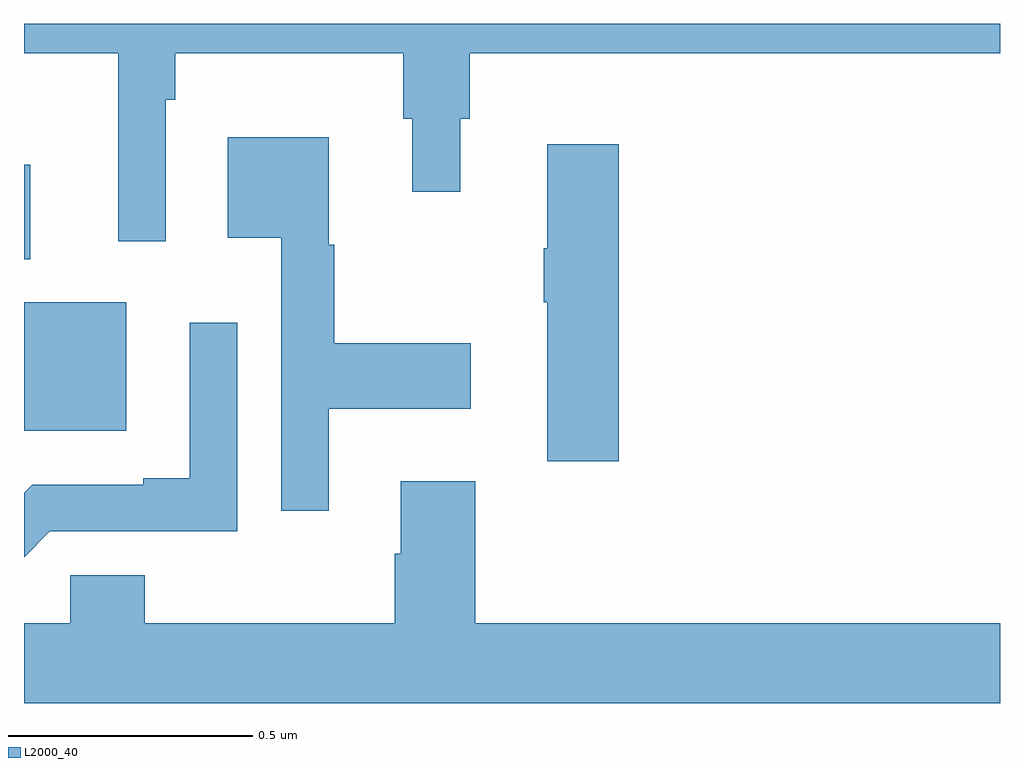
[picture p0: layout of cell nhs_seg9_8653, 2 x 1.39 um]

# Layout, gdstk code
import gdstk
lib = gdstk.Library(unit=1e-6, precision=1e-09)
def R(c, l, rs):  # rectangles x0, y0, x1, y1
    for r in rs: c.add(gdstk.rectangle(r[:2], r[2:], *l))
def P(c, l, *ps):  # polygons
    for p in ps: c.add(gdstk.Polygon(p, *l))
L2000_40 = (2000, 40)

nhs_seg9_8653 = lib.new_cell('nhs_seg9_8653')
R(nhs_seg9_8653, L2000_40, [(220,1175.666,220.21,1175.929), (220,1176.018,220.013,1176.211)])
P(nhs_seg9_8653, L2000_40, [(220.29,1176.344),(220.31,1176.344),(220.31,1176.44),(220.777,1176.44),(220.777,1176.306),(220.796,1176.306),(220.796,1176.156),(220.894,1176.156),(220.894,1176.306),(220.913,1176.306),(220.913,1176.44),(222,1176.44),(222,1176.5),(220,1176.5),(220,1176.44),(220.193,1176.44),(220.193,1176.054),(220.29,1176.054)],
  [(220.624,1175.711),(220.915,1175.711),(220.915,1175.846),(220.636,1175.846),(220.636,1176.047),(220.624,1176.047),(220.624,1176.268),(220.418,1176.268),(220.418,1176.062),(220.527,1176.062),(220.527,1175.502),(220.624,1175.502)],
  [(221.219,1176.253),(221.072,1176.253),(221.072,1176.04),(221.065,1176.04),(221.065,1175.929),(221.072,1175.929),(221.072,1175.604),(221.219,1175.604)],
  [(220.053,1175.46),(220.437,1175.46),(220.437,1175.887),(220.34,1175.887),(220.34,1175.569),(220.244,1175.569),(220.244,1175.556),(220.017,1175.556),(220,1175.539),(220,1175.407)],
  [(222,1175.272),(220.925,1175.272),(220.925,1175.563),(220.772,1175.563),(220.772,1175.414),(220.76,1175.414),(220.76,1175.272),(220.247,1175.272),(220.247,1175.37),(220.095,1175.37),(220.095,1175.272),(220,1175.272),(220,1175.108),(222,1175.108)])

lib.write_gds('nhs_seg9_8653.gds')
